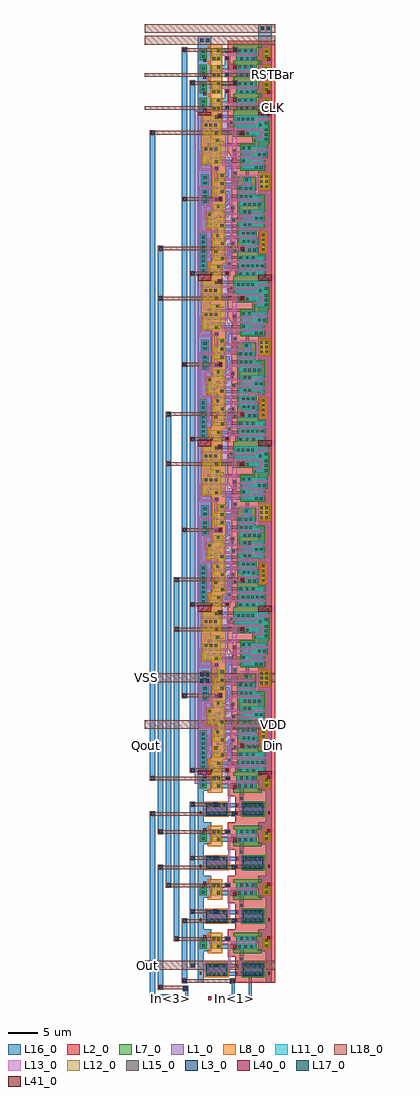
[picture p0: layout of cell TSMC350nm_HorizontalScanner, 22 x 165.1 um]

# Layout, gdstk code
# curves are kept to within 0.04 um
from math import pi, radians
import gdstk
lib = gdstk.Library(unit=1e-6, precision=1e-09)
def R(c, l, rs):  # rectangles x0, y0, x1, y1
    for r in rs: c.add(gdstk.rectangle(r[:2], r[2:], *l))
def A(c, l, x, y, w, h, nx, ny, dx, dy):  # array of equal rectangles
    R(c, l, [(x+i*dx, y+j*dy, x+i*dx+w, y+j*dy+h) for i in range(nx) for j in range(ny)])
def P(c, l, *ps):  # polygons
    for p in ps: c.add(gdstk.Polygon(p, *l))
L1_0 = (1, 0)
L2_0 = (2, 0)
L3_0 = (3, 0)
L7_0 = (7, 0)
L8_0 = (8, 0)
L11_0 = (11, 0)
L12_0 = (12, 0)
L13_0 = (13, 0)
L15_0 = (15, 0)
L16_0 = (16, 0)
L17_0 = (17, 0)
L18_0 = (18, 0)
L40_0 = (40, 0)
L41_0 = (41, 0)

prog_periph_via2_cdns_73 = lib.new_cell('prog_periph_VIA2_CDNS_731114697990')
R(prog_periph_via2_cdns_73, L16_0, [(-0.45,-0.45,0.45,0.45)])
R(prog_periph_via2_cdns_73, L17_0, [(-0.25,-0.25,0.25,0.25)])
R(prog_periph_via2_cdns_73, L18_0, [(-0.4,-0.4,0.4,0.4)])

dfcn1 = lib.new_cell('DFCN1')
P(dfcn1, L1_0, [(-1.6,-0.55),(-1.6,5.05),(1.1,5.05),(1.1,5.7),(19.8,5.7),(20.45,5.05),(28.2,5.05),(28.2,-0.55)])
P(dfcn1, L2_0, [(-0.9,5.05),(-0.9,13.05),(28.9,13.05),(28.9,5.05),(21.15,5.05),(20.5,5.7),(1.8,5.7),(1.8,5.05)])
R(dfcn1, L7_0, [(0.6,0.3,7.4,1.5), (12.3,0.55,17.5,1.85)])
P(dfcn1, L7_0, [(23.8,6),(23.8,9.5),(22.65,9.5),(22.65,7.15),(18.05,7.15),(18.05,11.4),(20.25,11.4),(20.25,11.85),(22.65,11.85),(22.65,12.1),(28,12.1),(28,10.8),(28.3,10.8),(28.3,6)],
  [(-0.3,6),(-0.3,10.8),(0,10.8),(0,11.45),(3.95,11.45),(3.95,10.2),(6.65,10.2),(6.65,9.95),(8.1,9.95),(8.1,11.35),(14,11.35),(14,9.8),(17.1,9.8),(17.1,6.65),(0.3,6.65),(0.3,6)])
R(dfcn1, L8_0, [(14.8,10.2,17.65,12.2), (4.2,10.45,7.8,11.65)])
P(dfcn1, L8_0, [(19,0.55),(19,2.35),(11.25,2.35),(11.25,1.4),(8.2,1.4),(8.2,2.35),(2.7,2.35),(2.7,1.7),(-0.3,1.7),(-0.3,4.1),(2.35,4.1),(2.35,4.75),(24.275,4.75),(24.275,4.1),(28.3,4.1),(28.3,1.7),(28,1.7),(28,0.55)])
R(dfcn1, L11_0, [(0.85,0.55,7.15,1.25), (12.55,0.85,14.85,1.55), (15.7,0.85,17.2,1.55), (0.3,6.9,3.7,11.2)])
P(dfcn1, L11_0, [(18.3,7.4),(18.3,11.05),(20.5,11.05),(20.5,11.6),(22.25,11.6),(22.25,7.4)],
  [(5.9,6.9),(5.9,7.45),(4.3,7.45),(4.3,9.95),(6.4,9.95),(6.4,9.7),(7.85,9.7),(7.85,8.3),(8.6,8.3),(8.6,11.05),(11.45,11.05),(11.45,7.4),(9.25,7.4),(9.25,6.9)],
  [(25.45,6.25),(25.45,6.9),(24.05,6.9),(24.05,9.8),(22.95,9.8),(22.95,11.85),(27.5,11.85),(27.5,6.25)],
  [(13.5,6.9),(13.5,7),(12.05,7),(12.05,10.7),(13.75,10.7),(13.75,9.5),(15.45,9.5),(15.45,9.05),(16.85,9.05),(16.85,7.65),(15.45,7.65),(15.45,6.9)])
R(dfcn1, L12_0, [(24.1,0.85,27.5,3.85), (0.3,2,2.2,3.85), (15.1,10.45,17.4,11.95), (4.45,10.7,7.55,11.4)])
P(dfcn1, L12_0, [(14.2,2.7),(14.2,4.5),(17.65,4.5),(17.65,3.4),(16.2,3.4),(16.2,2.7)],
  [(8.45,1.65),(8.45,3.4),(7.5,3.4),(7.5,2.7),(5.5,2.7),(5.5,3.5),(4.75,3.5),(4.75,2.7),(2.9,2.7),(2.9,4.5),(11,4.5),(11,4.2),(12.4,4.2),(12.4,2.6),(11,2.6),(11,1.65)],
  [(19.25,0.85),(19.25,3.85),(23.5,3.85),(23.5,2.1),(22.1,2.1),(22.1,0.85)])
P(dfcn1, L13_0, [(7.7,0.25),(7.7,5.5),(5.35,5.5),(5.35,6.3),(6.65,6.3),(6.65,10.1),(7,10.1),(7,5.85),(8.05,5.85),(8.05,0.6),(15.05,0.6),(15.05,6.05),(15.65,6.05),(15.65,9.45),(16,9.45),(16,5.7),(15.4,5.7),(15.4,0.25)],
  [(3.45,1.6),(3.45,3.5),(3.75,3.8),(3.75,4.9),(1.95,4.9),(1.95,5.7),(2.5,5.7),(2.5,12.25),(14.6,12.25),(14.6,10.25),(17.4,10.25),(17.4,7.1),(16.8,7.1),(16.8,3),(16.45,3),(16.45,7.45),(17.05,7.45),(17.05,9.9),(14.6,9.9),(14.6,6.5),(14.25,6.5),(14.25,11.9),(8.4,11.9),(8.4,6.5),(8.05,6.5),(8.05,11.9),(2.85,11.9),(2.85,5.25),(4.1,5.25),(4.1,3.65),(3.8,3.35),(3.8,1.95),(6.3,1.95),(6.3,4.9),(6.65,4.9),(6.65,1.6)],
  [(26.3,0.45),(26.3,5.25),(25.8,5.25),(25.8,6.05),(25.95,6.05),(25.95,9.8),(26.65,10.5),(26.65,12.25),(27,12.25),(27,10.35),(26.3,9.65),(26.3,6.05),(26.65,6.05),(26.65,0.45)],
  [(24.95,0.45),(24.9,5.8),(22.6,5.8),(22.6,2.9),(22.75,2.75),(22.75,1.7),(22.4,1.7),(22.4,2.6),(22.25,2.75),(22.25,5.8),(21.05,5.8),(21.05,9.45),(21.4,9.8),(21.4,12),(21.75,12),(21.75,9.65),(21.4,9.3),(21.4,6.6),(24.9,6.6),(24.9,10.5),(24.75,10.65),(23.95,10.65),(23.85,10.55),(23.85,9.4),(23.5,9.4),(23.5,10.7),(23.8,11),(24.9,11),(25.25,10.65),(25.3,0.45)],
  [(18.85,1.5),(18.85,1.85),(19.95,1.85),(20.1,2),(20.1,4.15),(18.9,4.15),(18.9,5.85),(17.25,5.85),(17.25,6.65),(18.9,6.65),(18.9,8.95),(19.15,9.2),(19.15,11.45),(19.5,11.45),(19.5,9.05),(19.25,8.8),(19.25,4.5),(20.45,4.5),(20.45,1.85),(20.1,1.5)],
  [(11.2,2.2),(11.2,4.65),(11.4,4.85),(11.4,6.25),(12.2,6.25),(12.2,5.7),(12.9,5.7),(12.9,11.1),(13.25,11.1),(13.25,5.35),(11.75,5.35),(11.75,4.7),(11.55,4.5),(11.55,2.2)],
  [(8.95,1.25),(8.95,3.1),(9.3,3.45),(9.3,6.4),(9.45,6.4),(9.45,9.1),(9.1,9.45),(9.1,11.45),(9.45,11.45),(9.45,9.6),(9.8,9.25),(9.8,6.4),(10.15,6.4),(10.15,5.6),(9.65,5.6),(9.65,3.3),(9.3,2.95),(9.3,1.25)],
  [(18.05,0.25),(18.05,3.55),(18.85,3.55),(18.85,2.75),(18.4,2.75),(18.4,0.6),(20.9,0.6),(20.9,5),(20.25,5),(20.25,8.65),(19.95,8.95),(19.95,11.45),(20.3,11.45),(20.3,9.1),(20.6,8.8),(20.6,5.35),(21.25,5.35),(21.25,0.25)],
  [(9.8,1.05),(9.8,2.65),(10.15,3),(10.15,4.95),(10.6,5.4),(10.6,6.6),(10.25,6.95),(10.25,9.25),(10.6,9.6),(10.6,11.45),(10.95,11.45),(10.95,9.45),(10.6,9.1),(10.6,7.1),(10.95,6.75),(10.95,5.25),(10.5,4.8),(10.5,2.85),(10.15,2.5),(10.15,1.4),(12,1.4),(12,2.4),(12.8,2.4),(12.8,3.55),(13.6,3.55),(13.6,2.75),(13.15,2.75),(13.15,2.05),(12.35,2.05),(12.35,1.05)],
  [(1.15,1.6),(1.15,2.75),(1,2.9),(1,4.6),(0.3,4.6),(0.3,5.4),(1.15,5.4),(1.15,11.6),(1.5,11.6),(1.5,4.6),(1.35,4.6),(1.35,3.05),(1.5,2.9),(1.5,1.6)],
  [(4.95,3.1),(4.95,4.7),(4.55,4.7),(4.55,5.9),(4.1,5.9),(4.1,6.7),(4.55,6.7),(4.55,7.25),(5.15,7.25),(5.15,10.35),(5.5,10.35),(5.5,6.9),(4.9,6.9),(4.9,5.05),(5.3,5.05),(5.3,3.1)])
A(dfcn1, L15_0, 1, 0.7, 0.4, 0.4, 8, 1, 0.8, 0)
A(dfcn1, L15_0, 12.7, 1, 0.4, 0.4, 3, 1, 0.8, 0)
A(dfcn1, L15_0, 21.55, 1.15, 0.4, 0.4, 1, 3, 0, 0.85)
A(dfcn1, L15_0, 25.6, 1.15, 0.4, 0.4, 1, 3, 0, 0.8)
A(dfcn1, L15_0, 26.65, 6.65, 0.4, 0.4, 1, 4, 0, 0.8)
A(dfcn1, L15_0, 13.55, 7.15, 0.4, 0.4, 1, 3, 0, 0.8)
A(dfcn1, L15_0, 1.8, 7.45, 0.4, 0.4, 1, 5, 0, 0.8)
A(dfcn1, L15_0, 12.2, 7.75, 0.4, 0.4, 1, 4, 0, 0.8)
A(dfcn1, L15_0, 15.25, 10.6, 0.4, 0.4, 3, 2, 0.8, 0.8)
A(dfcn1, L15_0, 4.6, 10.85, 0.4, 0.4, 4, 1, 0.8, 0)
A(dfcn1, L15_0, 23.2, 11.3, 0.4, 0.4, 3, 1, 0.8, 0)
R(dfcn1, L15_0, [(15.85,1,16.25,1.4), (16.65,1,17.05,1.4), (10.45,1.8,10.85,2.2), (0.45,2.15,0.85,2.55), (4.2,2.85,4.6,3.25), (13,2.95,13.4,3.35), (18.25,2.95,18.65,3.35), (19.4,2.95,19.8,3.35), (24.25,2.95,24.65,3.35), (26.95,2.95,27.35,3.35), (22.95,3.1,23.35,3.5), (6.95,3.15,7.35,3.55), (11.85,3.25,12.25,3.65), (1.65,3.3,2.05,3.7), (8.6,3.85,9,4.25), (14.35,3.9,14.75,4.3), (15.7,3.9,16.1,4.3), (17.1,3.9,17.5,4.3), (3.05,3.95,3.45,4.35), (5.6,3.95,6,4.35), (0.5,4.8,0.9,5.2), (2.15,5.1,2.55,5.5), (26,5.45,26.4,5.85), (11.6,5.65,12,6.05), (5.55,5.7,5.95,6.1), (9.55,5.8,9.95,6.2), (21.25,6,21.65,6.4), (17.45,6.05,17.85,6.45), (4.3,6.1,4.7,6.5), (0.45,7.05,0.85,7.45), (14.9,7.05,15.3,7.45), (24.2,7.05,24.6,7.45), (3.15,7.1,3.55,7.5), (7.3,7.5,7.7,7.9), (19.55,7.55,19.95,7.95), (21.7,7.55,22.1,7.95), (5.95,7.6,6.35,8), (8.75,7.75,9.15,8.15), (10.9,7.75,11.3,8.15), (14.9,7.95,15.3,8.35), (16.3,8.05,16.7,8.45), (0.45,8.15,0.85,8.55), (3.15,8.15,3.55,8.55), (24.2,8.15,24.6,8.55), (7.3,8.3,7.7,8.7), (5.95,8.4,6.35,8.8), (21.7,8.5,22.1,8.9), (4.45,8.55,4.85,8.95), (8.75,8.55,9.15,8.95), (10.9,8.55,11.3,8.95), (14.9,8.75,15.3,9.15), (3.15,9.15,3.55,9.55), (7.3,9.15,7.7,9.55), (0.45,9.2,0.85,9.6), (5.85,9.2,6.25,9.6), (4.45,9.4,4.85,9.8), (9.85,9.7,10.25,10.1), (18.45,9.7,18.85,10.1), (20.65,10.25,21.05,10.65), (25.6,10.35,26,10.75), (9.85,10.5,10.25,10.9), (18.45,10.5,18.85,10.9), (20.65,11.05,21.05,11.45), (25.95,11.3,26.35,11.7)])
R(dfcn1, L16_0, [(0.25,4.55,1.15,5.45)])
P(dfcn1, L16_0, [(22.55,2.95),(22.55,3.9),(22.25,3.9),(22.25,7.4),(21.55,7.4),(21.55,8.55),(18.95,8.55),(18.95,4.75),(17.65,4.75),(17.65,3.75),(16.95,3.75),(16.95,5.25),(18.45,5.25),(18.45,8.1),(16.85,8.1),(16.85,7.9),(16.15,7.9),(16.15,8.6),(18.45,8.6),(18.45,9.05),(22.25,9.05),(22.25,9.7),(25.95,9.7),(25.95,6),(26.55,6),(26.55,5.3),(25.45,5.3),(25.45,9.2),(22.75,9.2),(22.75,4.4),(23.05,4.4),(23.05,3.65),(23.5,3.65),(23.5,2.95)],
  [(7.5,2.75),(7.5,3),(6.8,3),(6.8,3.7),(7.5,3.7),(7.5,7.35),(7.15,7.35),(7.15,9.7),(7.85,9.7),(7.85,8.05),(8,8.05),(8,3.25),(9.55,3.25),(10.6,4.3),(10.6,6),(11.45,6),(11.45,6.2),(12.15,6.2),(12.15,5.55),(12.1,5.5),(11.1,5.5),(11.1,4.05),(9.8,2.75)],
  [(5.45,3.8),(5.45,4.5),(5.95,4.5),(6.55,5.1),(6.55,6.5),(6,7.05),(6,7.45),(5.8,7.45),(5.8,9.05),(5.7,9.05),(5.7,9.75),(6.5,9.75),(6.5,7.3),(7.05,6.75),(7.05,4.8),(6.25,4),(6.15,4),(6.15,3.8)],
  [(2.9,3.8),(2.9,4.5),(3.15,4.5),(3.15,6.95),(3,6.95),(3,9.7),(3.7,9.7),(3.65,5.5),(5.15,5.5),(5.4,5.75),(5.4,6.25),(6.1,6.25),(6.1,5.55),(5.55,5),(3.65,5),(3.65,3.8)],
  [(1.5,3.15),(1.5,3.85),(1.6,3.85),(1.6,6.3),(0.3,6.3),(0.3,9.75),(1,9.75),(1,6.8),(2.1,6.8),(2.1,5.65),(2.7,5.65),(2.7,4.95),(2.1,4.95),(2.1,3.85),(2.2,3.85),(2.2,3.15)],
  [(15.55,3.75),(15.55,6),(14.95,6),(14.95,6.9),(14.75,6.9),(14.75,9.3),(15.45,9.3),(15.45,6.5),(17.3,6.5),(17.3,6.6),(18,6.6),(18,5.9),(17.3,5.9),(17.3,6),(16.05,6),(16.05,4.45),(16.25,4.45),(16.25,3.75)],
  [(11.7,3.1),(11.7,3.8),(11.85,3.8),(11.85,4.6),(12.6,5.35),(13.5,5.35),(13.5,6.65),(10.1,6.65),(10.1,5.65),(9.4,5.65),(9.4,6.35),(9.6,6.35),(9.6,7.15),(13.4,7.15),(13.4,9.3),(14.1,9.3),(14.1,7),(14,7),(14,5.35),(14.7,5.35),(14.7,4.45),(14.9,4.45),(14.9,3.75),(14.2,3.75),(14.2,4.85),(12.85,4.85),(12.35,4.35),(12.4,3.1)],
  [(8.45,3.7),(8.45,8.1),(8.6,8.1),(8.6,9.1),(9.3,9.1),(9.3,8.1),(10.75,8.1),(10.75,9.1),(11.45,9.1),(11.45,7.6),(8.95,7.6),(8.95,4.4),(9.15,4.4),(9.15,3.7)],
  [(19.25,2.8),(19.25,3.5),(19.4,3.5),(19.4,8.1),(20.1,8.1),(20.1,7.4),(19.9,7.4),(19.9,6.45),(21.1,6.45),(21.1,6.55),(21.8,6.55),(21.8,5.85),(21.1,5.85),(21.1,5.95),(19.9,5.95),(19.9,3.5),(19.95,3.5),(19.95,2.8)],
  [(0,0),(0,2.3),(0.3,2.3),(0.3,2.7),(1,2.7),(1,2.3),(4.05,2.3),(4.05,3.4),(4.75,3.4),(4.75,2.3),(10.3,2.3),(10.3,2.35),(11,2.35),(11,2.3),(21.4,2.3),(21.4,3.4),(22.1,3.4),(22.1,2.3),(25.45,2.3),(25.45,3.3),(26.15,3.3),(26.15,2.3),(28,2.3),(28,0)],
  [(1.65,7.3),(1.65,10.2),(0,10.2),(0,12.5),(28,12.5),(28,10.2),(21.2,10.2),(21.2,10.1),(20.5,10.1),(20.5,10.2),(19,10.2),(19,9.55),(18.3,9.55),(18.3,10.2),(12.75,10.2),(12.75,7.6),(12.05,7.6),(12.05,10.2),(10.4,10.2),(10.4,9.55),(9.7,9.55),(9.7,10.2),(5,10.2),(5,8.4),(4.3,8.4),(4.3,10.2),(2.35,10.2),(2.35,7.3)],
  [(26.8,2.8),(26.8,3.5),(26.85,3.5),(26.85,4.2),(27,4.2),(27,6.5),(26.5,6.5),(26.5,9.6),(27.2,9.6),(27.2,7.2),(27.5,7.2),(27.5,4.2),(27.75,4.2),(27.75,3.3),(27.5,3.3),(27.5,2.8)],
  [(24.1,2.8),(24.1,3.5),(24.4,3.5),(24.4,6.9),(24.05,6.9),(24.05,8.7),(24.75,8.7),(24.75,7.95),(24.95,7.95),(24.95,7.05),(24.9,7.05),(24.9,2.8)],
  [(4.15,5.95),(4.15,6.65),(4.35,6.65),(4.35,7.95),(5.35,7.95),(5.35,7.05),(4.85,7.05),(4.85,5.95)],
  [(12.85,2.8),(12.85,4.2),(13.75,4.2),(13.75,3.3),(18.1,3.3),(18.1,3.5),(18.8,3.5),(18.8,2.8)])
R(dfcn1, L40_0, [(0,0,0.55,2.3), (27.45,0,28,2.3), (0,10.2,0.51,12.5), (27.45,10.2,28,12.5)])
R(dfcn1, L41_0, [(13.05,3.5,13.55,4), (27.05,3.5,27.55,4), (0.45,4.75,0.95,5.25), (4.65,7.25,5.15,7.75), (24.25,7.25,24.75,7.75)])
dfcn1.add(gdstk.Reference(prog_periph_via2_cdns_73, (24.5,7.5)))
dfcn1.add(gdstk.Reference(prog_periph_via2_cdns_73, (27.3,3.75)))
dfcn1.add(gdstk.Reference(prog_periph_via2_cdns_73, (13.3,3.74)))
dfcn1.add(gdstk.Reference(prog_periph_via2_cdns_73, (4.9,7.5)))
dfcn1.add(gdstk.Reference(prog_periph_via2_cdns_73, (0.7,5)))
dfcn1.add(gdstk.Label('VSS!', (27.73,1.21), layer=40, texttype=0))
dfcn1.add(gdstk.Label('VDD!', (27.67,11.42), layer=40, texttype=0))
dfcn1.add(gdstk.Label('VDD!', (0.22,11.42), layer=40, texttype=0))
dfcn1.add(gdstk.Label('VSS!', (0.28,1.21), layer=40, texttype=0))
dfcn1.add(gdstk.Label('& SerialNumber 000000', (28.15,0), layer=11, texttype=0))
dfcn1.add(gdstk.Label('& Distributor Vanguard', (28.15,0), layer=11, texttype=0))
dfcn1.add(gdstk.Label('& Metric 350.0', (28.15,0), layer=11, texttype=0))
dfcn1.add(gdstk.Label('& Version 400c', (28.15,0), layer=11, texttype=0))
dfcn1.add(gdstk.Label('& Product tcb773p', (28.15,0), layer=11, texttype=0))
dfcn1.add(gdstk.Label('& Vendor Taiwan Semiconductor Manufacturing Corp.', (28.15,0), layer=11, texttype=0))
dfcn1.add(gdstk.Label('& Vendor Taiwan Semiconductor Manufacturing Corp.', (0.7,0), layer=11, texttype=0))
dfcn1.add(gdstk.Label('& Product tcb773p', (0.7,0), layer=11, texttype=0))
dfcn1.add(gdstk.Label('& Version 400c', (0.7,0), layer=11, texttype=0))
dfcn1.add(gdstk.Label('& Metric 350.0', (0.7,0), layer=11, texttype=0))
dfcn1.add(gdstk.Label('& Distributor Vanguard', (0.7,0), layer=11, texttype=0))
dfcn1.add(gdstk.Label('& SerialNumber 000000', (0.7,0), layer=11, texttype=0))
dfcn1.add(gdstk.Label('& SerialNumber 000000', (0,0), layer=63, texttype=63))
dfcn1.add(gdstk.Label('& Distributor Vanguard', (0,0), layer=63, texttype=63))
dfcn1.add(gdstk.Label('& Metric 350.0', (0,0), layer=63, texttype=63))
dfcn1.add(gdstk.Label('& Version 400c', (0,0), layer=63, texttype=63))
dfcn1.add(gdstk.Label('& Product tcb773p', (0,0), layer=63, texttype=63))
dfcn1.add(gdstk.Label('& Vendor Taiwan Semiconductor Manufacturing Corp.', (0,0), layer=63, texttype=63))
dfcn1.add(gdstk.Label('D', (4.9,7.5), layer=41, texttype=0))
dfcn1.add(gdstk.Label('CP', (0.7,5), layer=41, texttype=0))
dfcn1.add(gdstk.Label('CDN', (13.3,3.75), layer=41, texttype=0))
dfcn1.add(gdstk.Label('Q', (24.5,7.5), layer=41, texttype=0))
dfcn1.add(gdstk.Label('QN', (27.3,3.75), layer=41, texttype=0))
dfcn1.add(gdstk.Label('DFCN1', (0,0), layer=62, texttype=0))

inv0 = lib.new_cell('INV0')
R(inv0, L2_0, [(-1.6,5.05,3,13.05)])
R(inv0, L7_0, [(-0.3,0.3,1.7,1.5)])
P(inv0, L7_0, [(-1,6),(-1,10.8),(-0.4,10.8),(-0.4,9.95),(1.8,9.95),(1.8,10.8),(2.4,10.8),(2.4,6),(1.8,6),(1.8,6.45),(-0.4,6.45),(-0.4,6)])
R(inv0, L8_0, [(-0.3,11,1.7,12.2)])
P(inv0, L8_0, [(-1,1.7),(-1,4.1),(2.4,4.1),(2.4,1.7),(1.8,1.7),(1.8,2.1),(-0.4,2.1),(-0.4,1.7)])
R(inv0, L11_0, [(-0.05,0.55,1.45,1.25), (-0.4,6.7,1.65,9.7)])
R(inv0, L12_0, [(-0.4,2.35,1.65,3.85), (-0.05,11.25,1.45,11.95)])
P(inv0, L13_0, [(0.45,1.95),(0.45,4.6),(-0.4,4.6),(-0.4,5.4),(0.45,5.4),(0.45,10.1),(0.8,10.1),(0.8,1.95)])
A(inv0, L15_0, 1.1, 6.85, 0.4, 0.4, 1, 3, 0, 1)
A(inv0, L15_0, -0.25, 7.15, 0.4, 0.4, 1, 3, 0, 1)
R(inv0, L15_0, [(0.1,0.7,0.5,1.1), (0.9,0.7,1.3,1.1), (-0.25,2.5,0.15,2.9), (-0.25,3.3,0.15,3.7), (1.1,3.3,1.5,3.7), (-0.2,4.8,0.2,5.2), (0.1,11.4,0.5,11.8), (0.9,11.4,1.3,11.8)])
R(inv0, L16_0, [(-0.45,4.55,0.45,5.45)])
P(inv0, L16_0, [(-0.7,0),(-0.7,2.3),(-0.4,2.3),(-0.4,3.85),(0.3,3.85),(0.3,2.3),(2.1,2.3),(2.1,0)],
  [(-0.4,7),(-0.4,10.2),(-0.7,10.2),(-0.7,12.5),(2.1,12.5),(2.1,10.2),(0.3,10.2),(0.3,7)],
  [(0.95,3.15),(0.95,9.4),(1.65,9.4),(1.65,6.7),(1.85,6.7),(1.85,5.8),(1.65,5.8),(1.65,3.15)])
R(inv0, L40_0, [(-0.625,0.9,-0.125,1.4), (-0.25,4.75,0.25,5.25), (1.15,6,1.65,6.5), (-0.425,11.75,0.075,12.25)])
inv0.add(gdstk.Label('ZN', (1.4,6.25), layer=40, texttype=0))
inv0.add(gdstk.Label('I', (0,5), layer=40, texttype=0))
inv0.add(gdstk.Label('VDD!', (-0.175,12), layer=40, texttype=0))
inv0.add(gdstk.Label('VSS!', (-0.375,1.15), layer=40, texttype=0))

nch_cdns_713049366980 = lib.new_cell('nch_CDNS_713049366980')
R(nch_cdns_713049366980, L3_0, [(-0.85,0,-0.15,3.5), (-0.85,0,-0.15,3.5), (-0.15,0,0.5,3.5), (0.5,0,1.2,3.5), (0.5,0,1.2,3.5)])
R(nch_cdns_713049366980, L8_0, [(-1.1,-0.25,1.45,3.75)])
R(nch_cdns_713049366980, L13_0, [(0,-0.4,0.35,3.9)])
A(nch_cdns_713049366980, L15_0, -0.7, 0.35, 0.4, 0.4, 1, 4, 0, 0.8)
A(nch_cdns_713049366980, L15_0, 0.65, 0.35, 0.4, 0.4, 1, 4, 0, 0.8)
R(nch_cdns_713049366980, L16_0, [(-0.85,0,-0.15,3.5), (0.5,0,1.2,3.5)])
nch_cdns_713049366980.add(gdstk.Label('& Vendor VIS Corp.', (0,0), layer=16, texttype=0))
nch_cdns_713049366980.add(gdstk.Label('& PDKName     vis35cv', (0,0), layer=16, texttype=0))
nch_cdns_713049366980.add(gdstk.Label('& Version    \t  1.7A', (0,0), layer=16, texttype=0))
nch_cdns_713049366980.add(gdstk.Label('& Metric 1', (0,0), layer=16, texttype=0))
nch_cdns_713049366980.add(gdstk.Label('& Distributor VIS', (0,0), layer=16, texttype=0))
nch_cdns_713049366980.add(gdstk.Label('& SerialNumber 000000', (0,0), layer=16, texttype=0))
nch_cdns_713049366980.add(gdstk.Label('& Vendor VIS Corp.', (0,0), layer=63, texttype=63))
nch_cdns_713049366980.add(gdstk.Label('& PDKName     vis35cv', (0,0), layer=63, texttype=63))
nch_cdns_713049366980.add(gdstk.Label('& Version    \t  1.7A', (0,0), layer=63, texttype=63))
nch_cdns_713049366980.add(gdstk.Label('& Metric 1', (0,0), layer=63, texttype=63))
nch_cdns_713049366980.add(gdstk.Label('& Distributor VIS', (0,0), layer=63, texttype=63))
nch_cdns_713049366980.add(gdstk.Label('& SerialNumber 000000', (0,0), layer=63, texttype=63))
nch_cdns_713049366980.add(gdstk.Label('G', (0.175,1.75), layer=59, texttype=0))
nch_cdns_713049366980.add(gdstk.Label('S', (-0.5,1.75), layer=59, texttype=0))
nch_cdns_713049366980.add(gdstk.Label('D', (0.85,1.75), layer=59, texttype=0))

pch_cdns_713049366981 = lib.new_cell('pch_CDNS_713049366981')
R(pch_cdns_713049366981, L2_0, [(-2.05,-1.2,2.4,4.7)])
R(pch_cdns_713049366981, L3_0, [(-0.85,0,-0.15,3.5), (-0.85,0,-0.15,3.5), (-0.15,0,0.5,3.5), (0.5,0,1.2,3.5), (0.5,0,1.2,3.5)])
R(pch_cdns_713049366981, L7_0, [(-1.1,-0.25,1.45,3.75)])
R(pch_cdns_713049366981, L13_0, [(0,-0.4,0.35,3.9)])
A(pch_cdns_713049366981, L15_0, -0.7, 0.35, 0.4, 0.4, 1, 4, 0, 0.8)
A(pch_cdns_713049366981, L15_0, 0.65, 0.35, 0.4, 0.4, 1, 4, 0, 0.8)
R(pch_cdns_713049366981, L16_0, [(-0.85,0,-0.15,3.5), (0.5,0,1.2,3.5)])
pch_cdns_713049366981.add(gdstk.Label('& Vendor VIS Corp.', (0,0), layer=16, texttype=0))
pch_cdns_713049366981.add(gdstk.Label('& PDKName     vis35cv', (0,0), layer=16, texttype=0))
pch_cdns_713049366981.add(gdstk.Label('& Version    \t  1.7A', (0,0), layer=16, texttype=0))
pch_cdns_713049366981.add(gdstk.Label('& Metric 1', (0,0), layer=16, texttype=0))
pch_cdns_713049366981.add(gdstk.Label('& Distributor VIS', (0,0), layer=16, texttype=0))
pch_cdns_713049366981.add(gdstk.Label('& SerialNumber 000000', (0,0), layer=16, texttype=0))
pch_cdns_713049366981.add(gdstk.Label('& Vendor VIS Corp.', (0,0), layer=63, texttype=63))
pch_cdns_713049366981.add(gdstk.Label('& PDKName     vis35cv', (0,0), layer=63, texttype=63))
pch_cdns_713049366981.add(gdstk.Label('& Version    \t  1.7A', (0,0), layer=63, texttype=63))
pch_cdns_713049366981.add(gdstk.Label('& Metric 1', (0,0), layer=63, texttype=63))
pch_cdns_713049366981.add(gdstk.Label('& Distributor VIS', (0,0), layer=63, texttype=63))
pch_cdns_713049366981.add(gdstk.Label('& SerialNumber 000000', (0,0), layer=63, texttype=63))
pch_cdns_713049366981.add(gdstk.Label('G', (0.175,1.75), layer=59, texttype=0))
pch_cdns_713049366981.add(gdstk.Label('S', (-0.5,1.75), layer=59, texttype=0))
pch_cdns_713049366981.add(gdstk.Label('D', (0.85,1.75), layer=59, texttype=0))

m1_poly1__190324780_cdns = lib.new_cell('M1_POLY1$$190324780_CDNS_731114697993')
R(m1_poly1__190324780_cdns, L13_0, [(-0.4,-0.4,0.4,0.4)])
R(m1_poly1__190324780_cdns, L15_0, [(-0.2,-0.2,0.2,0.2)])
R(m1_poly1__190324780_cdns, L16_0, [(-0.35,-0.35,0.35,0.35)])

tgate_with_inverter = lib.new_cell('tgate_with_inverter')
R(tgate_with_inverter, L2_0, [(0,12.25,4.45,13.05)])
R(tgate_with_inverter, L13_0, [(2.05,5.15,6.65,5.5), (2.05,7,4.45,7.35)])
R(tgate_with_inverter, L16_0, [(0,0,6.9,1), (8.15,0,9.05,2.3), (1.2,4.95,1.9,7.55), (2.55,4.95,3.25,7.55), (5.6,6.7,5.8,7.05), (4.4,7.05,5.8,7.75), (8.15,10.2,9.05,12.5), (0,11.5,6.9,12.5)])
R(tgate_with_inverter, L40_0, [(1.36,0.3,1.91,0.57), (7.21,5.25,7.69,5.38), (1.38,6.48,1.72,6.63), (2.73,6.48,3.07,6.63), (1.36,11.89,1.91,12.16)])
tgate_with_inverter.add(gdstk.Reference(inv0, (7.45,0), rotation=pi, x_reflection=True))
tgate_with_inverter.add(gdstk.Reference(nch_cdns_713049366980, (2.05,1.45)))
tgate_with_inverter.add(gdstk.Reference(pch_cdns_713049366981, (2.05,7.55)))
tgate_with_inverter.add(gdstk.Reference(m1_poly1__190324780_cdns, (4.05,7.4)))
tgate_with_inverter.add(gdstk.Label('VDD!', (1.64,12.02), layer=40, texttype=0))
tgate_with_inverter.add(gdstk.Label('Sel', (7.45,5.31), layer=40, texttype=0))
tgate_with_inverter.add(gdstk.Label('A', (1.55,6.55), layer=40, texttype=0))
tgate_with_inverter.add(gdstk.Label('B', (2.9,6.55), layer=40, texttype=0))
tgate_with_inverter.add(gdstk.Label('VSS!', (1.64,0.43), layer=40, texttype=0))

m2_m1__193668140_cdns_73 = lib.new_cell('M2_M1$$193668140_CDNS_731114697991')
R(m2_m1__193668140_cdns_73, L16_0, [(-0.95,-0.95,0.95,0.95)])
R(m2_m1__193668140_cdns_73, L17_0, [(-0.75,-0.75,-0.25,-0.25), (0.25,-0.75,0.75,-0.25), (-0.75,0.25,-0.25,0.75), (0.25,0.25,0.75,0.75)])
R(m2_m1__193668140_cdns_73, L18_0, [(-0.9,-0.9,0.9,0.9)])

m2_m1__193575980_cdns_73 = lib.new_cell('M2_M1$$193575980_CDNS_731114697992')
R(m2_m1__193575980_cdns_73, L16_0, [(-0.45,-0.95,0.45,0.95)])
R(m2_m1__193575980_cdns_73, L17_0, [(-0.25,-0.75,0.25,-0.25), (-0.25,0.25,0.25,0.75)])
R(m2_m1__193575980_cdns_73, L18_0, [(-0.4,-0.9,0.4,0.9)])

tsmc350nm_horizontalscan = lib.new_cell('TSMC350nm_HorizontalScanner')
R(tsmc350nm_horizontalscan, L16_0, [(76.302,-69.748,77.232,-69.278), (79.642,-69.748,80.082,-69.058), (87.432,-69.748,87.992,-68.938), (90.132,-69.748,90.842,-68.988), (86.792,82.802,87.692,83.502), (87.692,82.802,88.042,83.002), (86.792,88.402,87.692,89.102), (87.692,88.402,88.042,88.602), (82.242,91.652,84.542,93.352), (92.442,91.652,94.732,95.352)])
R(tsmc350nm_horizontalscan, L40_0, [(76.432,-69.748,77.732,-69.098), (79.712,-69.748,80.582,-69.058), (84.002,-69.748,84.492,-69.118), (87.522,-69.748,88.492,-69.018), (90.252,-69.748,91.332,-69.018)])
R(tsmc350nm_horizontalscan, L41_0, [(73.292,-64.598,74.112,-63.098), (73.292,-26.948,73.892,-26.348), (94.862,-26.948,95.292,-26.348), (94.752,-23.888,95.292,-22.388), (73.292,-15.958,73.762,-14.458), (94.912,80.852,95.292,81.452), (94.922,86.452,95.292,87.052)])
tsmc350nm_horizontalscan.add(gdstk.FlexPath([(74.392,-69.028),(74.392,-69.168)], 0.5, ends=(0.25, 0), simple_path=True, layer=16, datatype=0))  # L16_0
tsmc350nm_horizontalscan.add(gdstk.FlexPath([(77.482,-69.028),(74.392,-69.028)], 0.5, ends=(0, 0.25), simple_path=True, layer=16, datatype=0))  # L16_0
tsmc350nm_horizontalscan.add(gdstk.FlexPath([(75.942,57.652),(75.942,-41.748)], 0.9, ends="flush", simple_path=True, layer=16, datatype=0))  # L16_0
tsmc350nm_horizontalscan.add(gdstk.FlexPath([(74.592,-68.818),(74.592,-37.948)], 0.9, ends="flush", simple_path=True, layer=16, datatype=0))  # L16_0
tsmc350nm_horizontalscan.add(gdstk.FlexPath([(79.992,-56.048),(79.992,-66.078)], 0.9, ends="flush", simple_path=True, layer=16, datatype=0))  # L16_0
tsmc350nm_horizontalscan.add(gdstk.FlexPath([(81.342,-36.378),(81.342,-64.298)], 0.9, ends="flush", simple_path=True, layer=16, datatype=0))  # L16_0
tsmc350nm_horizontalscan.add(gdstk.FlexPath([(81.342,-31.148),(81.342,85.652)], 0.9, ends="flush", simple_path=True, layer=16, datatype=0))  # L16_0
tsmc350nm_horizontalscan.add(gdstk.FlexPath([(79.992,-18.548),(79.992,91.372)], 0.9, ends="flush", simple_path=True, layer=16, datatype=0))  # L16_0
tsmc350nm_horizontalscan.add(gdstk.FlexPath([(74.592,-32.298),(74.592,77.252)], 0.9, ends="flush", simple_path=True, layer=16, datatype=0))  # L16_0
tsmc350nm_horizontalscan.add(gdstk.FlexPath([(77.292,-50.648),(77.292,29.652)], 0.9, ends="flush", simple_path=True, layer=16, datatype=0))  # L16_0
tsmc350nm_horizontalscan.add(gdstk.FlexPath([(78.642,-59.698),(78.642,1.652)], 0.9, ends="flush", simple_path=True, layer=16, datatype=0))  # L16_0
tsmc350nm_horizontalscan.add(gdstk.FlexPath([(77.482,-69.748),(77.482,-68.778)], 0.5, ends="flush", simple_path=True, layer=16, datatype=0))  # L16_0
tsmc350nm_horizontalscan.add(gdstk.FlexPath([(80.332,-69.748),(80.332,-67.348)], 0.5, ends="flush", simple_path=True, layer=16, datatype=0))  # L16_0
tsmc350nm_horizontalscan.add(gdstk.FlexPath([(88.242,-69.748),(88.242,-66.098)], 0.5, ends="flush", simple_path=True, layer=16, datatype=0))  # L16_0
tsmc350nm_horizontalscan.add(gdstk.FlexPath([(91.092,-69.748),(91.092,-65.528)], 0.5, ends="flush", simple_path=True, layer=16, datatype=0))  # L16_0
tsmc350nm_horizontalscan.add(gdstk.FlexPath([(75.942,-67.998),(75.942,-47.298)], 0.9, ends="flush", simple_path=True, layer=16, datatype=0))  # L16_0
tsmc350nm_horizontalscan.add(gdstk.FlexPath([(95.292,94.602),(73.292,94.602)], 1.5, ends="flush", simple_path=True, layer=18, datatype=0))  # L18_0
tsmc350nm_horizontalscan.add(gdstk.FlexPath([(95.292,92.602),(73.292,92.602)], 1.5, ends="flush", simple_path=True, layer=18, datatype=0))  # L18_0
tsmc350nm_horizontalscan.add(gdstk.FlexPath([(74.832,-26.648),(73.292,-26.648)], 0.6, ends="flush", simple_path=True, layer=18, datatype=0))  # L18_0
tsmc350nm_horizontalscan.add(gdstk.FlexPath([(95.292,-26.648),(89.342,-26.648)], 0.6, ends="flush", simple_path=True, layer=18, datatype=0))  # L18_0
tsmc350nm_horizontalscan.add(gdstk.FlexPath([(95.292,-15.208),(73.292,-15.208)], 1.5, ends="flush", simple_path=True, layer=18, datatype=0))  # L18_0
tsmc350nm_horizontalscan.add(gdstk.FlexPath([(95.292,-23.138),(73.292,-23.138)], 1.5, ends="flush", simple_path=True, layer=18, datatype=0))  # L18_0
tsmc350nm_horizontalscan.add(gdstk.FlexPath([(85.302,-36.698),(80.892,-36.698)], 0.6, ends="flush", simple_path=True, layer=18, datatype=0))  # L18_0
tsmc350nm_horizontalscan.add(gdstk.FlexPath([(85.302,-54.798),(80.892,-54.798)], 0.6, ends="flush", simple_path=True, layer=18, datatype=0))  # L18_0
tsmc350nm_horizontalscan.add(gdstk.FlexPath([(85.302,-45.748),(80.892,-45.748)], 0.6, ends="flush", simple_path=True, layer=18, datatype=0))  # L18_0
tsmc350nm_horizontalscan.add(gdstk.FlexPath([(75.542,-67.648),(80.532,-67.648)], 0.6, ends="flush", simple_path=True, layer=18, datatype=0))  # L18_0
tsmc350nm_horizontalscan.add(gdstk.FlexPath([(79.592,-66.548),(88.432,-66.548)], 0.6, ends="flush", simple_path=True, layer=18, datatype=0))  # L18_0
tsmc350nm_horizontalscan.add(gdstk.FlexPath([(88.232,-38.248),(74.572,-38.248)], 0.6, ends="flush", simple_path=True, layer=18, datatype=0))  # L18_0
tsmc350nm_horizontalscan.add(gdstk.FlexPath([(88.232,-47.298),(75.492,-47.298)], 0.6, ends="flush", simple_path=True, layer=18, datatype=0))  # L18_0
tsmc350nm_horizontalscan.add(gdstk.FlexPath([(88.232,-56.348),(79.542,-56.348)], 0.6, ends="flush", simple_path=True, layer=18, datatype=0))  # L18_0
tsmc350nm_horizontalscan.add(gdstk.FlexPath([(87.242,-32.248),(74.142,-32.248)], 0.6, ends="flush", simple_path=True, layer=18, datatype=0))  # L18_0
tsmc350nm_horizontalscan.add(gdstk.FlexPath([(87.242,-41.298),(75.732,-41.298)], 0.6, ends="flush", simple_path=True, layer=18, datatype=0))  # L18_0
tsmc350nm_horizontalscan.add(gdstk.FlexPath([(87.242,-59.398),(78.192,-59.398)], 0.6, ends="flush", simple_path=True, layer=18, datatype=0))  # L18_0
tsmc350nm_horizontalscan.add(gdstk.FlexPath([(87.242,-50.348),(76.842,-50.348)], 0.6, ends="flush", simple_path=True, layer=18, datatype=0))  # L18_0
tsmc350nm_horizontalscan.add(gdstk.FlexPath([(88.542,90.952),(79.822,90.952)], 0.6, ends="flush", simple_path=True, layer=18, datatype=0))  # L18_0
tsmc350nm_horizontalscan.add(gdstk.FlexPath([(87.242,86.752),(73.292,86.752)], 0.6, ends="flush", simple_path=True, layer=18, datatype=0))  # L18_0
tsmc350nm_horizontalscan.add(gdstk.FlexPath([(87.242,86.752),(95.292,86.752)], 0.6, ends="flush", simple_path=True, layer=18, datatype=0))  # L18_0
tsmc350nm_horizontalscan.add(gdstk.FlexPath([(88.542,85.352),(80.942,85.352)], 0.6, ends="flush", simple_path=True, layer=18, datatype=0))  # L18_0
tsmc350nm_horizontalscan.add(gdstk.FlexPath([(87.242,81.152),(73.292,81.152)], 0.6, ends="flush", simple_path=True, layer=18, datatype=0))  # L18_0
tsmc350nm_horizontalscan.add(gdstk.FlexPath([(87.242,81.152),(95.292,81.152)], 0.6, ends="flush", simple_path=True, layer=18, datatype=0))  # L18_0
tsmc350nm_horizontalscan.add(gdstk.FlexPath([(89.742,57.352),(75.492,57.352)], 0.6, ends="flush", simple_path=True, layer=18, datatype=0))  # L18_0
tsmc350nm_horizontalscan.add(gdstk.FlexPath([(89.742,29.352),(76.842,29.352)], 0.6, ends="flush", simple_path=True, layer=18, datatype=0))  # L18_0
tsmc350nm_horizontalscan.add(gdstk.FlexPath([(89.742,1.352),(78.192,1.352)], 0.6, ends="flush", simple_path=True, layer=18, datatype=0))  # L18_0
tsmc350nm_horizontalscan.add(gdstk.FlexPath([(89.742,76.952),(74.192,76.952)], 0.6, ends="flush", simple_path=True, layer=18, datatype=0))  # L18_0
tsmc350nm_horizontalscan.add(gdstk.FlexPath([(87.242,53.152),(81.292,53.152)], 0.6, ends="flush", simple_path=True, layer=18, datatype=0))  # L18_0
tsmc350nm_horizontalscan.add(gdstk.FlexPath([(87.242,25.152),(81.292,25.152)], 0.6, ends="flush", simple_path=True, layer=18, datatype=0))  # L18_0
tsmc350nm_horizontalscan.add(gdstk.FlexPath([(87.242,-2.848),(81.292,-2.848)], 0.6, ends="flush", simple_path=True, layer=18, datatype=0))  # L18_0
tsmc350nm_horizontalscan.add(gdstk.FlexPath([(85.982,65.752),(80.342,65.752)], 0.6, ends="flush", simple_path=True, layer=18, datatype=0))  # L18_0
tsmc350nm_horizontalscan.add(gdstk.FlexPath([(85.982,37.752),(80.342,37.752)], 0.6, ends="flush", simple_path=True, layer=18, datatype=0))  # L18_0
tsmc350nm_horizontalscan.add(gdstk.FlexPath([(85.982,9.752),(80.342,9.752)], 0.6, ends="flush", simple_path=True, layer=18, datatype=0))  # L18_0
tsmc350nm_horizontalscan.add(gdstk.FlexPath([(85.982,-18.248),(80.342,-18.248)], 0.6, ends="flush", simple_path=True, layer=18, datatype=0))  # L18_0
tsmc350nm_horizontalscan.add(gdstk.FlexPath([(87.242,-30.848),(81.292,-30.848)], 0.6, ends="flush", simple_path=True, layer=18, datatype=0))  # L18_0
tsmc350nm_horizontalscan.add(gdstk.FlexPath([(89.742,48.952),(75.492,48.952)], 0.6, ends="flush", simple_path=True, layer=18, datatype=0))  # L18_0
tsmc350nm_horizontalscan.add(gdstk.FlexPath([(89.742,20.952),(76.842,20.952)], 0.6, ends="flush", simple_path=True, layer=18, datatype=0))  # L18_0
tsmc350nm_horizontalscan.add(gdstk.FlexPath([(89.742,-7.048),(78.192,-7.048)], 0.6, ends="flush", simple_path=True, layer=18, datatype=0))  # L18_0
tsmc350nm_horizontalscan.add(gdstk.FlexPath([(95.292,-63.848),(73.292,-63.848)], 1.5, ends="flush", simple_path=True, layer=18, datatype=0))  # L18_0
r = gdstk.Reference(dfcn1, (82.242,-31.548), rotation=pi/2, x_reflection=True); r.repetition = gdstk.Repetition(4, 1, v1=(0,28), v2=(0,0)); tsmc350nm_horizontalscan.add(r)
tsmc350nm_horizontalscan.add(gdstk.Reference(tgate_with_inverter, (82.242,-66.848), rotation=pi/2, x_reflection=True))
tsmc350nm_horizontalscan.add(gdstk.Reference(tgate_with_inverter, (82.242,-57.798), rotation=pi/2, x_reflection=True))
tsmc350nm_horizontalscan.add(gdstk.Reference(tgate_with_inverter, (82.242,-39.698), rotation=pi/2, x_reflection=True))
tsmc350nm_horizontalscan.add(gdstk.Reference(tgate_with_inverter, (82.242,-48.748), rotation=pi/2, x_reflection=True))
r = gdstk.Reference(inv0, (82.242,81.152), rotation=pi/2, x_reflection=True); r.repetition = gdstk.Repetition(4, 1, v1=(0,2.8), v2=(0,0)); tsmc350nm_horizontalscan.add(r)
tsmc350nm_horizontalscan.add(gdstk.Reference(prog_periph_via2_cdns_73, (87.242,-50.348), rotation=pi/2, x_reflection=True))
tsmc350nm_horizontalscan.add(gdstk.Reference(prog_periph_via2_cdns_73, (87.242,-41.298), rotation=pi/2, x_reflection=True))
tsmc350nm_horizontalscan.add(gdstk.Reference(prog_periph_via2_cdns_73, (87.242,-32.248), rotation=pi/2, x_reflection=True))
tsmc350nm_horizontalscan.add(gdstk.Reference(prog_periph_via2_cdns_73, (74.592,-26.648), rotation=pi/2, x_reflection=True))
tsmc350nm_horizontalscan.add(gdstk.Reference(prog_periph_via2_cdns_73, (81.342,-63.848), rotation=pi/2, x_reflection=True))
tsmc350nm_horizontalscan.add(gdstk.Reference(prog_periph_via2_cdns_73, (81.342,-54.798), rotation=pi/2, x_reflection=True))
tsmc350nm_horizontalscan.add(gdstk.Reference(prog_periph_via2_cdns_73, (81.342,-45.748), rotation=pi/2, x_reflection=True))
tsmc350nm_horizontalscan.add(gdstk.Reference(prog_periph_via2_cdns_73, (81.342,-36.698), rotation=pi/2, x_reflection=True))
tsmc350nm_horizontalscan.add(gdstk.Reference(prog_periph_via2_cdns_73, (85.302,-36.698), rotation=pi/2, x_reflection=True))
tsmc350nm_horizontalscan.add(gdstk.Reference(prog_periph_via2_cdns_73, (85.302,-45.748), rotation=pi/2, x_reflection=True))
tsmc350nm_horizontalscan.add(gdstk.Reference(prog_periph_via2_cdns_73, (85.302,-54.798), rotation=pi/2, x_reflection=True))
tsmc350nm_horizontalscan.add(gdstk.Reference(prog_periph_via2_cdns_73, (85.302,-63.848), rotation=pi/2, x_reflection=True))
tsmc350nm_horizontalscan.add(gdstk.Reference(prog_periph_via2_cdns_73, (74.592,-32.248), rotation=pi/2, x_reflection=True))
tsmc350nm_horizontalscan.add(gdstk.Reference(prog_periph_via2_cdns_73, (74.592,-38.248), rotation=pi/2, x_reflection=True))
tsmc350nm_horizontalscan.add(gdstk.Reference(prog_periph_via2_cdns_73, (75.942,-41.298), rotation=pi/2, x_reflection=True))
tsmc350nm_horizontalscan.add(gdstk.Reference(prog_periph_via2_cdns_73, (75.942,-47.298), rotation=pi/2, x_reflection=True))
tsmc350nm_horizontalscan.add(gdstk.Reference(prog_periph_via2_cdns_73, (77.292,-50.348), rotation=pi/2, x_reflection=True))
tsmc350nm_horizontalscan.add(gdstk.Reference(prog_periph_via2_cdns_73, (79.992,-56.348), rotation=pi/2, x_reflection=True))
tsmc350nm_horizontalscan.add(gdstk.Reference(prog_periph_via2_cdns_73, (88.042,-66.548), rotation=pi/2, x_reflection=True))
tsmc350nm_horizontalscan.add(gdstk.Reference(prog_periph_via2_cdns_73, (79.992,-66.448), rotation=pi/2, x_reflection=True))
tsmc350nm_horizontalscan.add(gdstk.Reference(prog_periph_via2_cdns_73, (80.132,-67.798), rotation=pi/2, x_reflection=True))
tsmc350nm_horizontalscan.add(gdstk.Reference(prog_periph_via2_cdns_73, (75.942,-67.548), rotation=pi/2, x_reflection=True))
tsmc350nm_horizontalscan.add(gdstk.Reference(prog_periph_via2_cdns_73, (78.642,-59.398), rotation=pi/2, x_reflection=True))
tsmc350nm_horizontalscan.add(gdstk.Reference(prog_periph_via2_cdns_73, (88.232,-38.248), rotation=pi/2, x_reflection=True))
tsmc350nm_horizontalscan.add(gdstk.Reference(prog_periph_via2_cdns_73, (88.232,-47.298), rotation=pi/2, x_reflection=True))
tsmc350nm_horizontalscan.add(gdstk.Reference(prog_periph_via2_cdns_73, (88.232,-56.348), rotation=pi/2, x_reflection=True))
tsmc350nm_horizontalscan.add(gdstk.Reference(prog_periph_via2_cdns_73, (87.242,-59.398), rotation=pi/2, x_reflection=True))
tsmc350nm_horizontalscan.add(gdstk.Reference(prog_periph_via2_cdns_73, (78.642,-7.048), rotation=pi/2, x_reflection=True))
tsmc350nm_horizontalscan.add(gdstk.Reference(prog_periph_via2_cdns_73, (78.642,1.352), rotation=pi/2, x_reflection=True))
tsmc350nm_horizontalscan.add(gdstk.Reference(prog_periph_via2_cdns_73, (77.292,20.952), rotation=pi/2, x_reflection=True))
tsmc350nm_horizontalscan.add(gdstk.Reference(prog_periph_via2_cdns_73, (77.292,29.352), rotation=pi/2, x_reflection=True))
tsmc350nm_horizontalscan.add(gdstk.Reference(prog_periph_via2_cdns_73, (75.942,48.952), rotation=pi/2, x_reflection=True))
tsmc350nm_horizontalscan.add(gdstk.Reference(prog_periph_via2_cdns_73, (75.942,57.352), rotation=pi/2, x_reflection=True))
tsmc350nm_horizontalscan.add(gdstk.Reference(prog_periph_via2_cdns_73, (74.592,76.952), rotation=pi/2, x_reflection=True))
tsmc350nm_horizontalscan.add(gdstk.Reference(prog_periph_via2_cdns_73, (79.992,90.952), rotation=pi/2, x_reflection=True))
tsmc350nm_horizontalscan.add(gdstk.Reference(prog_periph_via2_cdns_73, (88.492,90.952), rotation=pi/2, x_reflection=True))
tsmc350nm_horizontalscan.add(gdstk.Reference(prog_periph_via2_cdns_73, (87.242,86.752), rotation=pi/2, x_reflection=True))
tsmc350nm_horizontalscan.add(gdstk.Reference(prog_periph_via2_cdns_73, (81.342,85.352), rotation=pi/2, x_reflection=True))
tsmc350nm_horizontalscan.add(gdstk.Reference(prog_periph_via2_cdns_73, (87.242,81.152), rotation=pi/2, x_reflection=True))
tsmc350nm_horizontalscan.add(gdstk.Reference(prog_periph_via2_cdns_73, (88.492,85.352), rotation=pi/2, x_reflection=True))
tsmc350nm_horizontalscan.add(gdstk.Reference(prog_periph_via2_cdns_73, (79.992,65.742), rotation=pi/2, x_reflection=True))
tsmc350nm_horizontalscan.add(gdstk.Reference(prog_periph_via2_cdns_73, (79.992,37.752), rotation=pi/2, x_reflection=True))
tsmc350nm_horizontalscan.add(gdstk.Reference(prog_periph_via2_cdns_73, (79.992,9.762), rotation=pi/2, x_reflection=True))
tsmc350nm_horizontalscan.add(gdstk.Reference(prog_periph_via2_cdns_73, (79.992,-18.258), rotation=pi/2, x_reflection=True))
tsmc350nm_horizontalscan.add(gdstk.Reference(prog_periph_via2_cdns_73, (81.342,-30.848), rotation=pi/2, x_reflection=True))
tsmc350nm_horizontalscan.add(gdstk.Reference(prog_periph_via2_cdns_73, (81.342,-2.848), rotation=pi/2, x_reflection=True))
tsmc350nm_horizontalscan.add(gdstk.Reference(prog_periph_via2_cdns_73, (81.342,25.142), rotation=pi/2, x_reflection=True))
tsmc350nm_horizontalscan.add(gdstk.Reference(prog_periph_via2_cdns_73, (81.342,53.152), rotation=pi/2, x_reflection=True))
tsmc350nm_horizontalscan.add(gdstk.Reference(m2_m1__193668140_cdns_73, (83.422,-15.208), rotation=pi/2, x_reflection=True))
tsmc350nm_horizontalscan.add(gdstk.Reference(m2_m1__193668140_cdns_73, (93.632,-23.138), rotation=pi/2, x_reflection=True))
tsmc350nm_horizontalscan.add(gdstk.Reference(m2_m1__193575980_cdns_73, (83.382,92.582), rotation=pi/2, x_reflection=True))
tsmc350nm_horizontalscan.add(gdstk.Reference(m2_m1__193575980_cdns_73, (93.612,94.602), rotation=pi/2, x_reflection=True))
tsmc350nm_horizontalscan.add(gdstk.Label('In<3>', (77.602,-69.518), layer=40, texttype=0))
tsmc350nm_horizontalscan.add(gdstk.Label('In<2>', (80.442,-69.518), layer=40, texttype=0))
tsmc350nm_horizontalscan.add(gdstk.Label('In<1>', (88.352,-69.528), layer=40, texttype=0))
tsmc350nm_horizontalscan.add(gdstk.Label('In<0>', (91.212,-69.508), layer=40, texttype=0))
tsmc350nm_horizontalscan.add(gdstk.Label('fake_pin', (84.272,-69.198), layer=40, texttype=0))
tsmc350nm_horizontalscan.add(gdstk.Label('Out', (73.792,-63.848), layer=41, texttype=0))
tsmc350nm_horizontalscan.add(gdstk.Label('Din', (95.082,-26.648), layer=41, texttype=0))
tsmc350nm_horizontalscan.add(gdstk.Label('Qout', (73.532,-26.648), layer=41, texttype=0))
tsmc350nm_horizontalscan.add(gdstk.Label('VSS', (73.572,-15.208), layer=41, texttype=0))
tsmc350nm_horizontalscan.add(gdstk.Label('VDD', (95.072,-23.138), layer=41, texttype=0))
tsmc350nm_horizontalscan.add(gdstk.Label('RSTBar', (95.102,86.752), layer=41, texttype=0))
tsmc350nm_horizontalscan.add(gdstk.Label('CLK', (95.112,81.152), layer=41, texttype=0))

lib.write_gds('TSMC350nm_HorizontalScanner.gds')
